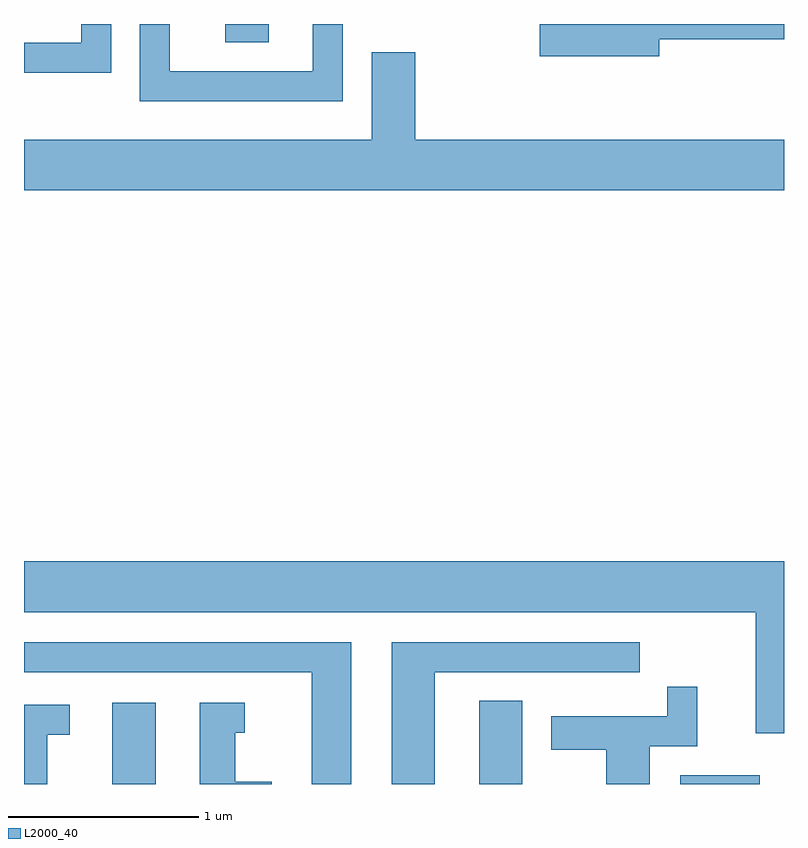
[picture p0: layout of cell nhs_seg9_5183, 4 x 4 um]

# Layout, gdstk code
import gdstk
lib = gdstk.Library(unit=1e-6, precision=1e-09)
def R(c, l, rs):  # rectangles x0, y0, x1, y1
    for r in rs: c.add(gdstk.rectangle(r[:2], r[2:], *l))
def P(c, l, *ps):  # polygons
    for p in ps: c.add(gdstk.Polygon(p, *l))
L2000_40 = (2000, 40)

nhs_seg9_5183 = lib.new_cell('nhs_seg9_5183')
R(nhs_seg9_5183, L2000_40, [(338.076,2026.432,338.304,2026.859), (340.006,2026.432,340.234,2026.869), (341.066,2026.432,341.484,2026.479), (338.671,2030.336,338.899,2030.432)])
P(nhs_seg9_5183, L2000_40, [(338.069,2030.432),(337.911,2030.432),(337.911,2030.334),(337.611,2030.334),(337.611,2030.176),(338.069,2030.176)],
  [(339.289,2030.432),(339.131,2030.432),(339.131,2030.184),(338.379,2030.184),(338.379,2030.432),(338.221,2030.432),(338.221,2030.026),(339.289,2030.026)],
  [(340.954,2030.351),(341.611,2030.351),(341.611,2030.432),(340.326,2030.432),(340.326,2030.261),(340.954,2030.261)],
  [(341.611,2029.824),(339.669,2029.824),(339.669,2030.284),(339.441,2030.284),(339.441,2029.824),(337.611,2029.824),(337.611,2029.556),(341.611,2029.556)],
  [(341.611,2027.604),(337.611,2027.604),(337.611,2027.336),(341.461,2027.336),(341.461,2026.698),(341.611,2026.698)],
  [(339.334,2027.179),(337.611,2027.179),(337.611,2027.021),(339.126,2027.021),(339.126,2026.432),(339.334,2026.432)],
  [(339.774,2027.021),(340.853,2027.021),(340.853,2027.179),(339.546,2027.179),(339.546,2026.432),(339.774,2026.432)],
  [(340.904,2026.631),(341.154,2026.631),(341.154,2026.943),(340.996,2026.943),(340.996,2026.789),(340.386,2026.789),(340.386,2026.611),(340.676,2026.611),(340.676,2026.432),(340.904,2026.432)],
  [(338.914,2026.444),(338.724,2026.444),(338.724,2026.701),(338.773,2026.701),(338.773,2026.859),(338.536,2026.859),(338.536,2026.432),(338.914,2026.432)],
  [(337.734,2026.691),(337.853,2026.691),(337.853,2026.849),(337.611,2026.849),(337.611,2026.432),(337.734,2026.432)])

lib.write_gds('nhs_seg9_5183.gds')
